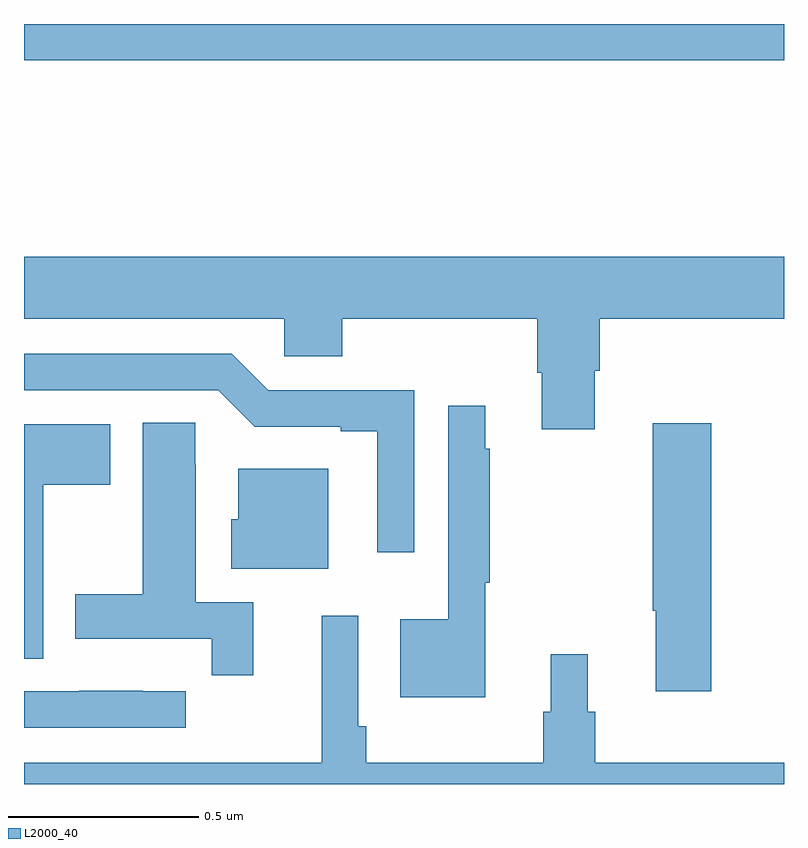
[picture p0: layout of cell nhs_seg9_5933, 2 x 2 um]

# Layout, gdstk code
import gdstk
lib = gdstk.Library(unit=1e-6, precision=1e-09)
def R(c, l, rs):  # rectangles x0, y0, x1, y1
    for r in rs: c.add(gdstk.rectangle(r[:2], r[2:], *l))
def P(c, l, *ps):  # polygons
    for p in ps: c.add(gdstk.Polygon(p, *l))
L2000_40 = (2000, 40)

nhs_seg9_5933 = lib.new_cell('nhs_seg9_5933')
R(nhs_seg9_5933, L2000_40, [(185,1226.404,187,1226.5)])
P(nhs_seg9_5933, L2000_40, [(186.502,1225.587),(186.515,1225.587),(186.515,1225.724),(187,1225.724),(187,1225.888),(185,1225.888),(185,1225.724),(185.685,1225.724),(185.685,1225.626),(185.837,1225.626),(185.837,1225.724),(186.35,1225.724),(186.35,1225.582),(186.362,1225.582),(186.362,1225.434),(186.502,1225.434)],
  [(186.027,1225.536),(185.643,1225.536),(185.547,1225.632),(185,1225.632),(185,1225.536),(185.511,1225.536),(185.607,1225.44),(185.834,1225.44),(185.834,1225.428),(185.93,1225.428),(185.93,1225.11),(186.027,1225.11)],
  [(186.214,1225.03),(186.226,1225.03),(186.226,1225.382),(186.214,1225.382),(186.214,1225.495),(186.117,1225.495),(186.117,1224.934),(185.99,1224.934),(185.99,1224.728),(186.214,1224.728)],
  [(185.603,1224.978),(185.452,1224.978),(185.452,1225.34),(185.451,1225.34),(185.451,1225.451),(185.312,1225.451),(185.312,1224.999),(185.135,1224.999),(185.135,1224.882),(185.494,1224.882),(185.494,1224.786),(185.603,1224.786)],
  [(186.809,1225.45),(186.655,1225.45),(186.655,1224.956),(186.662,1224.956),(186.662,1224.744),(186.809,1224.744)],
  [(185.05,1225.288),(185.227,1225.288),(185.227,1225.447),(185,1225.447),(185,1224.829),(185.05,1224.829)],
  [(185.8,1225.33),(185.564,1225.33),(185.564,1225.197),(185.546,1225.197),(185.546,1225.067),(185.8,1225.067)],
  [(187,1224.556),(186.503,1224.556),(186.503,1224.69),(186.484,1224.69),(186.484,1224.841),(186.386,1224.841),(186.386,1224.69),(186.367,1224.69),(186.367,1224.556),(185.9,1224.556),(185.9,1224.652),(185.88,1224.652),(185.88,1224.943),(185.783,1224.943),(185.783,1224.556),(185,1224.556),(185,1224.5),(187,1224.5)],
  [(185.425,1224.744),(185.312,1224.744),(185.312,1224.745),(185.146,1224.745),(185.146,1224.744),(185,1224.744),(185,1224.648),(185.425,1224.648)])

lib.write_gds('nhs_seg9_5933.gds')
